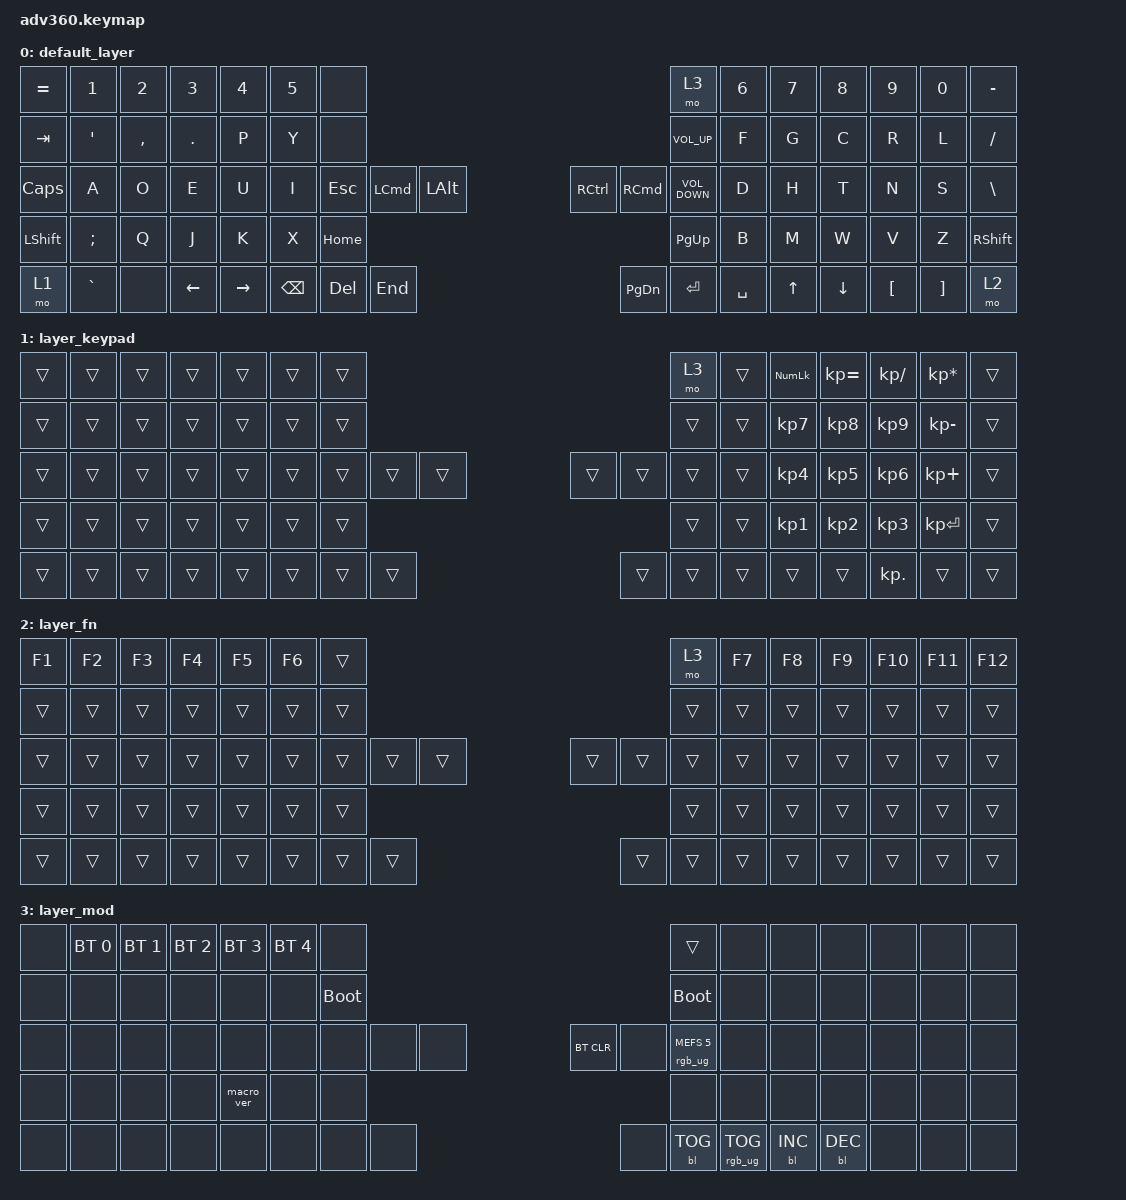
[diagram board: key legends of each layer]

/*
 * Copyright (c) 2020 The ZMK Contributors
 *
 * SPDX-License-Identifier: MIT
 */


/* THIS FILE WAS GENERATED!
 *
 * This file was generated automatically. You may or may not want to
 * edit it directly.
 */

#include <behaviors.dtsi>
#include <dt-bindings/zmk/keys.h>
#include <dt-bindings/zmk/bt.h>
#include <dt-bindings/zmk/rgb.h>
#include <dt-bindings/zmk/backlight.h>

/ {
  behaviors {
    #include "macros.dtsi"
    #include "version.dtsi"

    hm: homerow_mods {
        compatible = "zmk,behavior-hold-tap";
        label = "HOMEROW_MODS";
        #binding-cells = <2>;
        tapping-term-ms = <200>;
        quick_tap_ms = <175>;
        flavor = "tap-preferred";
        bindings = <&kp>, <&kp>;
    };
  };

    keymap {
        compatible = "zmk,keymap";


        default_layer {
            bindings = <
    &kp EQUAL          &kp N1     &kp N2      &kp N3     &kp N4  &kp N5               &none                                                                        &mo 3  &kp N6  &kp N7    &kp N8    &kp N9    &kp N0      &kp MINUS
      &kp TAB  &kp APOSTROPHE  &kp COMMA  &kp PERIOD      &kp P   &kp Y               &none                                                                 &kp C_VOL_UP   &kp F   &kp G     &kp C     &kp R     &kp L      &kp SLASH
 &kp CAPSLOCK           &kp A      &kp O       &kp E      &kp U   &kp I             &kp ESC  &kp LCMD  &kp LALT                  &kp RCTRL   &kp RCMD  &kp C_VOLUME_DOWN   &kp D   &kp H     &kp T     &kp N     &kp S  &kp BACKSLASH
    &kp LSHFT   &kp SEMICOLON      &kp Q       &kp J      &kp K   &kp X                                &kp HOME                  &kp PG_UP                                 &kp B   &kp M     &kp W     &kp V     &kp Z      &kp RSHFT
        &mo 1       &kp GRAVE      &none    &kp LEFT  &kp RIGHT                    &kp BSPC   &kp DEL   &kp END                  &kp PG_DN  &kp ENTER          &kp SPACE          &kp UP  &kp DOWN  &kp LBKT  &kp RBKT          &mo 2
            >;
        };

        layer_keypad {
            bindings = <
 &trans  &trans  &trans  &trans  &trans  &trans            &trans                                                   &mo 3  &trans  &kp KP_NUM  &kp KP_EQUAL  &kp KP_DIVIDE  &kp KP_MULTIPLY  &trans
 &trans  &trans  &trans  &trans  &trans  &trans            &trans                                                  &trans  &trans   &kp KP_N7     &kp KP_N8      &kp KP_N9     &kp KP_MINUS  &trans
 &trans  &trans  &trans  &trans  &trans  &trans            &trans  &trans  &trans                  &trans  &trans  &trans  &trans   &kp KP_N4     &kp KP_N5      &kp KP_N6      &kp KP_PLUS  &trans
 &trans  &trans  &trans  &trans  &trans  &trans                            &trans                  &trans                  &trans   &kp KP_N1     &kp KP_N2      &kp KP_N3     &kp KP_ENTER  &trans
 &trans  &trans  &trans  &trans  &trans                    &trans  &trans  &trans                  &trans  &trans  &trans              &trans        &trans     &kp KP_DOT           &trans  &trans
            >;
        };

        layer_fn {
            bindings = <
 &kp F1  &kp F2  &kp F3  &kp F4  &kp F5  &kp F6            &trans                                                   &mo 3  &kp F7  &kp F8  &kp F9  &kp F10  &kp F11  &kp F12
 &trans  &trans  &trans  &trans  &trans  &trans            &trans                                                  &trans  &trans  &trans  &trans   &trans   &trans   &trans
 &trans  &trans  &trans  &trans  &trans  &trans            &trans  &trans  &trans                  &trans  &trans  &trans  &trans  &trans  &trans   &trans   &trans   &trans
 &trans  &trans  &trans  &trans  &trans  &trans                            &trans                  &trans                  &trans  &trans  &trans   &trans   &trans   &trans
 &trans  &trans  &trans  &trans  &trans                    &trans  &trans  &trans                  &trans  &trans  &trans          &trans  &trans   &trans   &trans   &trans
            >;
        };

        layer_mod {
            bindings = <
  &none  &bt BT_SEL 0  &bt BT_SEL 1  &bt BT_SEL 2  &bt BT_SEL 3  &bt BT_SEL 4                  &none                                                                          &trans   &none       &none       &none   &none   &none   &none
  &none         &none         &none         &none         &none         &none            &bootloader                                                                     &bootloader   &none       &none       &none   &none   &none   &none
  &none         &none         &none         &none         &none         &none                  &none   &none   &none                  &bt BT_CLR       &none  &rgb_ug RGB_MEFS_CMD 5   &none       &none       &none   &none   &none   &none
  &none         &none         &none         &none    &macro_ver         &none                                  &none                       &none                                       &none       &none       &none   &none   &none   &none
  &none         &none         &none         &none         &none                                &none   &none   &none                       &none  &bl BL_TOG         &rgb_ug RGB_TOG          &bl BL_INC  &bl BL_DEC   &none   &none   &none
            >;
        };

    };
};
